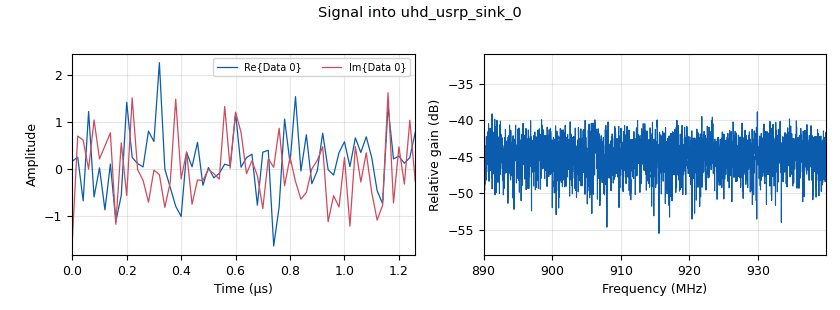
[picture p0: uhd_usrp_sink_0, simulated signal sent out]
<?xml version='1.0' encoding='utf-8'?>
<?grc format='1' created='3.7.10'?>
<flow_graph>
<block>
<key>options</key>
<param><key>id</key><value>top_block</value></param>
<param><key>generate_options</key><value>qt_gui</value></param>
</block>
<block>
<key>variable</key>
<param><key>id</key><value>freq</value></param>
<param><key>value</key><value>915e6</value></param>
</block>
<block>
<key>variable</key>
<param><key>id</key><value>samp_rate</value></param>
<param><key>value</key><value>50e6</value></param>
</block>
<block>
<key>analog_fastnoise_source_x</key>
<param><key>id</key><value>analog_fastnoise_source_x_0</value></param>
<param><key>amp</key><value>1</value></param>
<param><key>noise_type</key><value>analog.GR_GAUSSIAN</value></param>
<param><key>type</key><value>complex</value></param>
<param><key>seed</key><value>0</value></param>
<param><key>samples</key><value>8192</value></param>
</block>
<block>
<key>uhd_usrp_sink</key>
<param><key>id</key><value>uhd_usrp_sink_0</value></param>
<param><key>ant0</key><value></value></param>
<param><key>center_freq0</key><value>freq</value></param>
<param><key>norm_gain0</key><value>False</value></param>
<param><key>gain0</key><value>75</value></param>
<param><key>clock_rate</key><value>0.0</value></param>
<param><key>dev_args</key><value>""</value></param>
<param><key>type</key><value>fc32</value></param>
<param><key>samp_rate</key><value>samp_rate</value></param>
<param><key>hide_cmd_port</key><value>False</value></param>
<param><key>hide_lo_controls</key><value>True</value></param>
<param><key>sync</key><value></value></param>
<param><key>len_tag_name</key><value></value></param>
</block>
<connection><source_block_id>analog_fastnoise_source_x_0</source_block_id><sink_block_id>uhd_usrp_sink_0</sink_block_id><source_key>0</source_key><sink_key>0</sink_key></connection>
</flow_graph>
